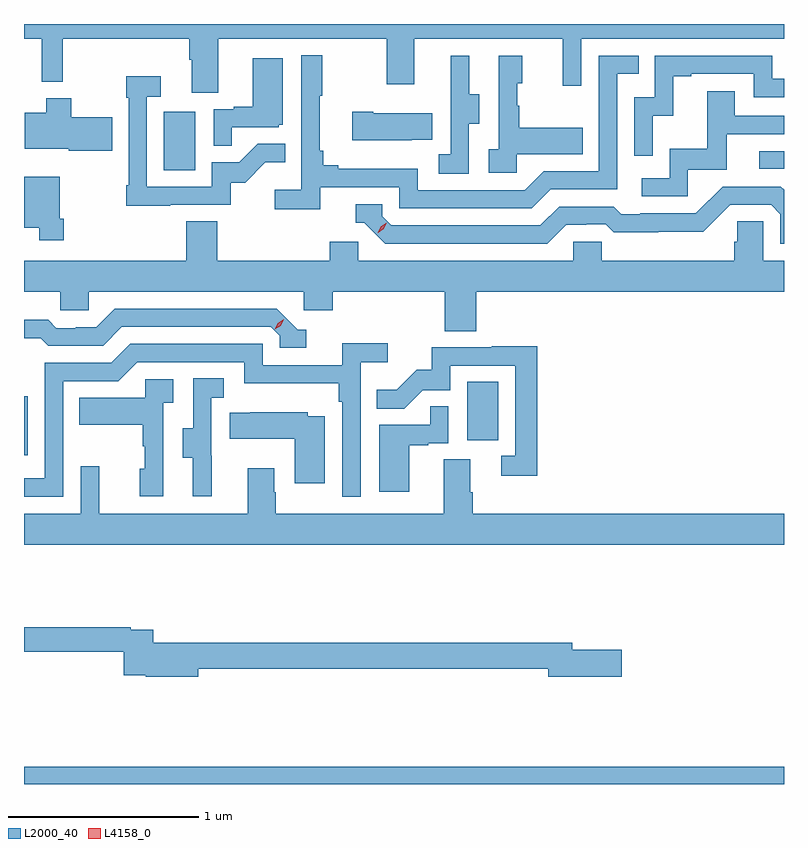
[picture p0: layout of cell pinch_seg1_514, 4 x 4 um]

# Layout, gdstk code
import gdstk
lib = gdstk.Library(unit=1e-6, precision=1e-09)
def R(c, l, rs):  # rectangles x0, y0, x1, y1
    for r in rs: c.add(gdstk.rectangle(r[:2], r[2:], *l))
def P(c, l, *ps):  # polygons
    for p in ps: c.add(gdstk.Polygon(p, *l))
L2000_40 = (2000, 40)
L4158_0 = (4158, 0)

pinch_seg1_514 = lib.new_cell('pinch_seg1_514')
R(pinch_seg1_514, L2000_40, [(1045.258,533.157,1049.258,533.248), (1045.258,534.888,1045.278,535.198), (1047.59,534.966,1047.754,535.273), (1045.994,536.388,1046.158,536.695), (1049.127,536.394,1049.258,536.487)])
P(pinch_seg1_514, L2000_40, [(1046.281,537.08),(1047.166,537.08),(1047.166,536.841),(1047.313,536.841),(1047.313,537.08),(1048.094,537.08),(1048.094,536.832),(1048.191,536.832),(1048.191,537.08),(1049.258,537.08),(1049.258,537.157),(1045.258,537.157),(1045.258,537.08),(1045.352,537.08),(1045.352,536.852),(1045.462,536.852),(1045.462,537.08),(1046.129,537.08),(1046.129,536.968),(1046.141,536.968),(1046.141,536.794),(1046.281,536.794)],
  [(1046.816,536.298),(1047.234,536.298),(1047.234,536.187),(1047.931,536.187),(1048.03,536.286),(1048.38,536.286),(1048.38,536.895),(1048.493,536.895),(1048.493,536.991),(1048.284,536.991),(1048.284,536.382),(1047.993,536.382),(1047.894,536.283),(1047.33,536.283),(1047.33,536.395),(1046.911,536.395),(1046.911,536.414),(1046.834,536.414),(1046.834,536.491),(1046.815,536.491),(1046.815,536.779),(1046.827,536.779),(1046.827,536.992),(1046.718,536.992),(1046.718,536.284),(1046.577,536.284),(1046.577,536.182),(1046.816,536.182)],
  [(1048.566,536.675),(1048.676,536.675),(1048.676,536.883),(1048.771,536.883),(1048.771,536.895),(1049.1,536.895),(1049.1,536.772),(1049.258,536.772),(1049.258,536.868),(1049.196,536.868),(1049.196,536.991),(1048.578,536.991),(1048.578,536.772),(1048.47,536.772),(1048.47,536.463),(1048.566,536.463)],
  [(1047.852,536.471),(1048.199,536.471),(1048.199,536.611),(1047.865,536.611),(1047.865,536.726),(1047.855,536.726),(1047.855,536.844),(1047.88,536.844),(1047.88,536.989),(1047.756,536.989),(1047.756,536.498),(1047.705,536.498),(1047.705,536.373),(1047.852,536.373)],
  [(1047.6,536.632),(1047.655,536.632),(1047.655,536.787),(1047.601,536.787),(1047.601,536.989),(1047.503,536.989),(1047.503,536.775),(1047.504,536.775),(1047.504,536.471),(1047.441,536.471),(1047.441,536.368),(1047.6,536.368)],
  [(1046.351,536.613),(1046.598,536.613),(1046.598,536.628),(1046.62,536.628),(1046.62,536.977),(1046.462,536.977),(1046.462,536.722),(1046.363,536.722),(1046.363,536.709),(1046.256,536.709),(1046.256,536.515),(1046.351,536.515)],
  [(1046.027,536.205),(1046.346,536.205),(1046.346,536.322),(1046.422,536.322),(1046.529,536.429),(1046.633,536.429),(1046.633,536.528),(1046.489,536.528),(1046.391,536.43),(1046.247,536.43),(1046.247,536.301),(1045.905,536.301),(1045.905,536.775),(1045.978,536.775),(1045.978,536.881),(1045.797,536.881),(1045.797,536.768),(1045.809,536.768),(1045.809,536.308),(1045.797,536.308),(1045.797,536.2),(1046.027,536.2)],
  [(1048.752,536.391),(1048.957,536.391),(1048.957,536.577),(1049.258,536.577),(1049.258,536.673),(1048.999,536.673),(1048.999,536.803),(1048.855,536.803),(1048.855,536.5),(1048.656,536.5),(1048.656,536.346),(1048.509,536.346),(1048.509,536.25),(1048.752,536.25)],
  [(1045.723,536.667),(1045.506,536.667),(1045.506,536.767),(1045.376,536.767),(1045.376,536.689),(1045.262,536.689),(1045.262,536.501),(1045.494,536.501),(1045.494,536.489),(1045.723,536.489)],
  [(1047.299,536.549),(1047.407,536.549),(1047.407,536.686),(1047.097,536.686),(1047.097,536.694),(1046.985,536.694),(1046.985,536.546),(1047.299,536.546)],
  [(1045.466,536.131),(1045.446,536.131),(1045.446,536.353),(1045.258,536.353),(1045.258,536.084),(1045.338,536.084),(1045.338,536.019),(1045.466,536.019)],
  [(1048.111,536.1),(1048.218,536.1),(1048.218,536.103),(1048.321,536.103),(1048.363,536.061),(1048.596,536.061),(1048.596,536.063),(1048.832,536.063),(1048.974,536.205),(1049.19,536.205),(1049.238,536.157),(1049.238,536.001),(1049.258,536.001),(1049.258,536.284),(1049.241,536.301),(1048.935,536.301),(1048.794,536.16),(1048.501,536.16),(1048.501,536.157),(1048.402,536.157),(1048.363,536.196),(1048.074,536.196),(1047.975,536.097),(1047.192,536.097),(1047.144,536.145),(1047.144,536.208),(1047.005,536.208),(1047.005,536.112),(1047.048,536.112),(1047.159,536.001),(1048.012,536.001)],
  [(1047.638,535.748),(1049.258,535.748),(1049.258,535.912),(1049.148,535.912),(1049.148,536.12),(1049.011,536.12),(1049.011,536.01),(1048.997,536.01),(1048.997,535.912),(1048.299,535.912),(1048.299,536.01),(1048.149,536.01),(1048.149,535.912),(1047.018,535.912),(1047.018,536.01),(1046.867,536.01),(1046.867,535.912),(1046.276,535.912),(1046.276,536.12),(1046.111,536.12),(1046.111,535.912),(1045.258,535.912),(1045.258,535.748),(1045.449,535.748),(1045.449,535.65),(1045.599,535.65),(1045.599,535.748),(1046.73,535.748),(1046.73,535.65),(1046.882,535.65),(1046.882,535.748),(1047.473,535.748),(1047.473,535.54),(1047.638,535.54)],
  [(1046.743,535.548),(1046.7,535.548),(1046.589,535.659),(1045.736,535.659),(1045.637,535.56),(1045.53,535.56),(1045.53,535.557),(1045.427,535.557),(1045.385,535.6),(1045.258,535.6),(1045.258,535.503),(1045.346,535.503),(1045.385,535.464),(1045.674,535.464),(1045.773,535.563),(1046.556,535.563),(1046.604,535.515),(1046.604,535.452),(1046.743,535.452)],
  [(1045.464,535.278),(1045.755,535.278),(1045.854,535.377),(1046.418,535.377),(1046.418,535.265),(1046.914,535.265),(1046.914,535.169),(1046.934,535.169),(1046.934,534.669),(1047.03,534.669),(1047.03,535.376),(1047.172,535.376),(1047.172,535.478),(1046.933,535.478),(1046.933,535.362),(1046.514,535.362),(1046.514,535.473),(1045.817,535.473),(1045.718,535.374),(1045.368,535.374),(1045.368,534.765),(1045.258,534.765),(1045.258,534.669),(1045.464,534.669)],
  [(1047.959,535.46),(1047.721,535.46),(1047.721,535.455),(1047.403,535.455),(1047.403,535.338),(1047.326,535.338),(1047.219,535.231),(1047.115,535.231),(1047.115,535.132),(1047.259,535.132),(1047.357,535.23),(1047.501,535.23),(1047.501,535.359),(1047.843,535.359),(1047.843,534.885),(1047.771,534.885),(1047.771,534.78),(1047.959,534.78)],
  [(1046.246,534.885),(1046.244,534.885),(1046.244,535.189),(1046.308,535.189),(1046.308,535.292),(1046.148,535.292),(1046.148,535.029),(1046.093,535.029),(1046.093,534.874),(1046.147,534.874),(1046.147,534.672),(1046.246,534.672)],
  [(1045.992,535.163),(1046.044,535.163),(1046.044,535.287),(1045.896,535.287),(1045.896,535.189),(1045.549,535.189),(1045.549,535.049),(1045.884,535.049),(1045.884,534.935),(1045.894,534.935),(1045.894,534.816),(1045.868,534.816),(1045.868,534.672),(1045.992,534.672)],
  [(1047.286,534.939),(1047.386,534.939),(1047.386,534.951),(1047.492,534.951),(1047.492,535.145),(1047.397,535.145),(1047.397,535.047),(1047.128,535.047),(1047.128,534.696),(1047.286,534.696)],
  [(1046.842,535.093),(1046.751,535.093),(1046.751,535.114),(1046.449,535.114),(1046.449,535.111),(1046.341,535.111),(1046.341,534.974),(1046.684,534.974),(1046.684,534.741),(1046.842,534.741)],
  [(1047.607,534.692),(1047.607,534.866),(1047.467,534.866),(1047.467,534.58),(1046.583,534.58),(1046.583,534.692),(1046.575,534.692),(1046.575,534.82),(1046.435,534.82),(1046.435,534.58),(1045.655,534.58),(1045.655,534.829),(1045.557,534.829),(1045.557,534.58),(1045.258,534.58),(1045.258,534.416),(1049.258,534.416),(1049.258,534.58),(1047.62,534.58),(1047.62,534.692)],
  [(1046.176,533.764),(1048.016,533.764),(1048.016,533.722),(1048.405,533.722),(1048.405,533.864),(1048.144,533.864),(1048.144,533.9),(1045.937,533.9),(1045.937,533.97),(1045.82,533.97),(1045.82,533.983),(1045.258,533.983),(1045.258,533.854),(1045.784,533.854),(1045.784,533.729),(1045.9,533.729),(1045.9,533.722),(1046.176,533.722)])
P(pinch_seg1_514, L4158_0, [(1047.121,536.058),(1047.121,536.059),(1047.137,536.092),(1047.167,536.112),(1047.167,536.112),(1047.167,536.112),(1047.152,536.079),(1047.122,536.058)],
  [(1046.578,535.55),(1046.578,535.55),(1046.594,535.583),(1046.625,535.603),(1046.625,535.603),(1046.625,535.603),(1046.609,535.57),(1046.579,535.55)])

lib.write_gds('pinch_seg1_514.gds')
